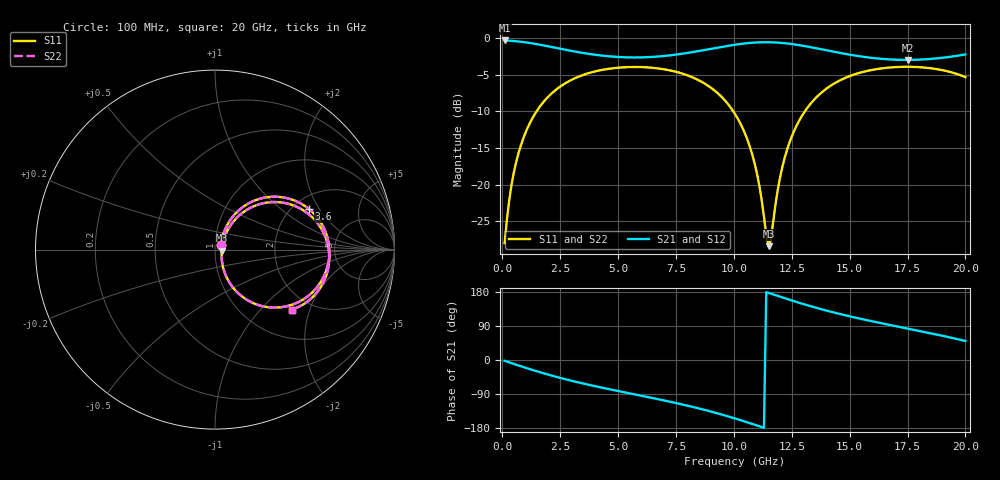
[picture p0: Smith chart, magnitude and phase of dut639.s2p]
! Touchstone file exported from HFSS 2026.1.0
!  File:  C:/ffzhzh/LocalFiles/Ansys_Project_Files/temp_train_TSV_RDL_639_1783127566_50312.aedt
!  Generated:  09:33:20 AM Jul  4, 2026
!  Design:  TSV_RDL
!  Project:  temp_train_TSV_RDL_639_1783127566_50312
! Variables:
!  h_bsmrdl = 5.94um
!  h_ox = 20um
!  h_rdl = 5um
!  h_sub = 96.9um
!  h_tmrdl = 2.66um
!  h_tsv = 96.9um
!  h_via = 3um
!  l_bsmrdl = 973.23um
!  l_sub = 5268.61um
!  l_tmrdl = 459.81um
!  m_sub = 200um
!  pitch = 49.81um
!  r_tsv = 3.59um
!  s_tmrdl = 10um
!  w_bsmrdl = 10.41um
!  w_sub = 500um
!  w_tmrdl = 26.15um
!  x_tsv_center1 = 472.885um
!  x_tsv_center2 = 1456.525um
!  x_tsv_center3 = 1942.485um
!  x_tsv_center4 = 2926.125um
!  x_tsv_center5 = 3412.085um
!  x_tsv_center6 = 4395.725um
# GHz S MA R 50.000000
! Terminal data exported
! Port[1] = TM_RDL1_1_T1
! Port[2] = TM_RDL5_1_T1
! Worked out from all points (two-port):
!   200 points, 100 MHz to 20 GHz, reference 50 ohm
!   highest |S21| = -0.28 dB at 100 MHz (marker M1); lowest = -2.9 dB at 17.5 GHz (marker M2)
!   |S21| within 3 dB of the highest: start of sweep to end of sweep
!   lowest |S11| = -28.4 dB at 11.5 GHz (marker M3), VSWR 1.08, Z = 53.9 - j0.664 ohm
!   |S11| at or under -10 dB: start of sweep to 1.478 GHz; 9.978 GHz to 13.06 GHz (3.087 GHz wide, 26.8 % of centre)
!   |S22| runs from -28.5 to -3.9 dB; largest |S21 - S12| = 1.6e-14
!   S11 on the Smith chart (normalised r, x): 100 MHz: 1.07, +0.05; 3.6 GHz: 2.42, +1.62; 20 GHz: 1.61, -1.52
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0.1  0.0397 35.4  0.9682 -2.1  0.9682 -2.1  0.0397 35.4
! Gamma 0 0 0 0
! Port Impedance 50 0 50 0
0.3  0.07837 59.0  0.9647 -6.3  0.9647 -6.3  0.07837 59.0
0.5  0.1212 63.4  0.9595 -10.4  0.9595 -10.4  0.1212 63.4
1.1  0.2457 59.5  0.935 -22.4  0.935 -22.4  0.2457 59.5
2.1  0.4157 44.7  0.8754 -40.6  0.8754 -40.6  0.4157 44.7
3.5  0.563 24.7  0.7942 -62.2  0.7942 -62.2  0.563 24.7
3.6  0.57 23.4  0.7895 -63.6  0.7895 -63.6  0.57 23.4
5.2  0.6336 3.6  0.7434 -84.4  0.7434 -84.4  0.6336 3.6
6.8  0.6208 -15.3  0.7533 -104.3  0.7533 -104.3  0.6208 -15.4
8.7  0.4952 -40.2  0.8312 -131.0  0.8312 -131.0  0.4952 -40.2
10.1  0.2949 -60.5  0.908 -155.2  0.908 -155.2  0.2948 -60.6
10.9  0.139 -67.2  0.9364 -170.8  0.9364 -170.8  0.139 -67.3
11.5  0.03784 -9.4  0.9414 177.1  0.9414 177.1  0.03772 -9.4
11.6  0.04222 20.0  0.9407 175.0  0.9407 175.0  0.04211 20.1
12  0.1126 55.9  0.9333 167.0  0.9333 167.0  0.1126 56.0
12.3  0.1733 57.1  0.9234 161.0  0.9234 161.0  0.1733 57.2
12.8  0.2696 52.4  0.9005 151.4  0.9005 151.4  0.2696 52.4
13.4  0.3706 44.1  0.8661 140.5  0.8661 140.5  0.3706 44.1
14.8  0.5356 24.4  0.784 118.2  0.784 118.2  0.5356 24.5
16.7  0.6315 1.2  0.7186 92.9  0.7186 92.9  0.6315 1.2
17.5  0.6394 -8.0  0.7126 83.0  0.7126 83.0  0.6394 -8.0
20  0.5432 -38.0  0.7768 50.1  0.7768 50.1  0.5432 -37.9
